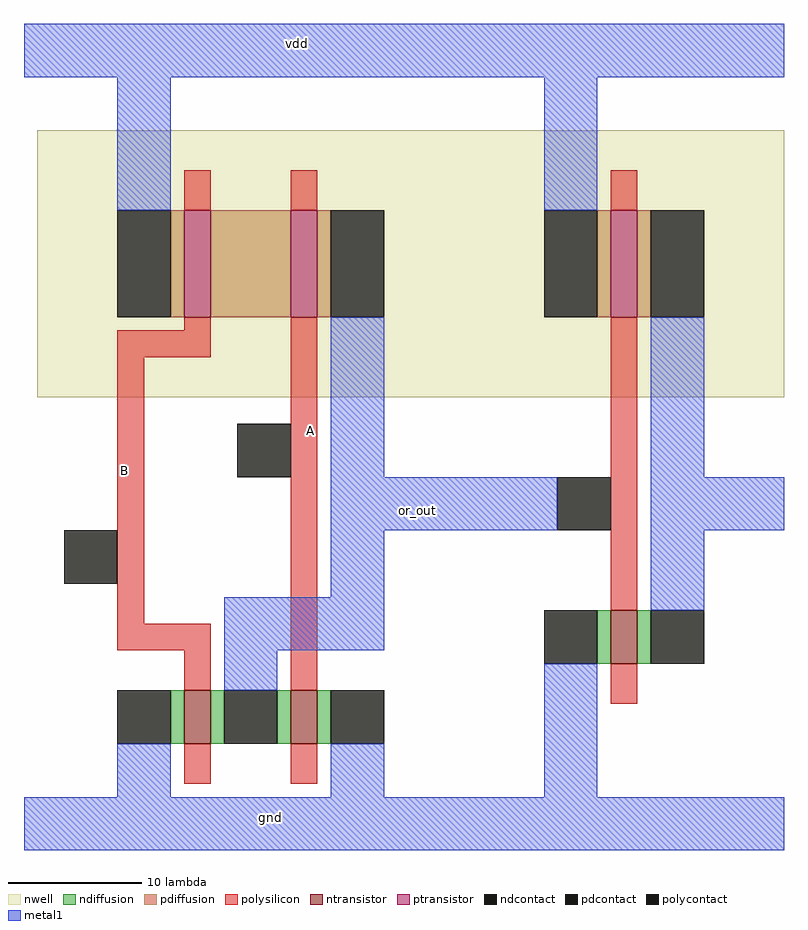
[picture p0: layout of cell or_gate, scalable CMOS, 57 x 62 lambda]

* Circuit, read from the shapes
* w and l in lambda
.subckt or_gate A B gnd or_out vdd
M1 or_out B gnd VSUBS nfet w=4 l=2
M2 gnd A or_out VSUBS nfet w=4 l=2
M3 inverter_0/Inv_out or_out gnd VSUBS nfet w=4 l=2
M4 n1 B vdd n2 pfet w=8 l=2
M5 or_out A n1 n2 pfet w=8 l=2
M6 inverter_0/Inv_out or_out vdd n2 pfet w=8 l=2
.ends

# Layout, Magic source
magic
tech scmos
<< nwell >>
rect 69 34 101 54
<< ntransistor >>
rect 80 8 82 12
rect 88 8 90 12
<< ptransistor >>
rect 80 40 82 48
rect 88 40 90 48
<< ndiffusion >>
rect 79 8 80 12
rect 82 8 83 12
rect 87 8 88 12
rect 90 8 91 12
<< pdiffusion >>
rect 79 40 80 48
rect 82 40 88 48
rect 90 40 91 48
<< ndcontact >>
rect 75 8 79 12
rect 83 8 87 12
rect 91 8 95 12
<< pdcontact >>
rect 75 40 79 48
rect 91 40 95 48
<< polysilicon >>
rect 80 48 82 51
rect 88 48 90 51
rect 80 39 82 40
rect 75 37 82 39
rect 75 17 77 37
rect 75 15 82 17
rect 80 12 82 15
rect 88 12 90 40
rect 80 5 82 8
rect 88 5 90 8
<< polycontact >>
rect 71 20 75 24
rect 84 28 88 32
<< metal1 >>
rect 68 58 101 62
rect 75 48 79 58
rect 91 28 95 40
rect 91 24 101 28
rect 91 19 95 24
rect 83 15 95 19
rect 83 12 87 15
rect 75 4 79 8
rect 91 4 95 8
rect 68 0 101 4
use inverter  inverter_0
transform 1 0 101 0 1 34
box 0 -34 24 28
<< labels >>
rlabel metal1 86 2 87 3 1 gnd
rlabel metal1 88 60 89 61 5 vdd
rlabel metal1 97 25 98 26 7 or_out
rlabel polysilicon 75 28 76 29 1 B
rlabel polysilicon 89 31 90 32 1 A
<< end >>

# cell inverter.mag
magic
tech scmos
<< nwell >>
rect 0 0 24 20
<< ntransistor >>
rect 11 -20 13 -16
<< ptransistor >>
rect 11 6 13 14
<< ndiffusion >>
rect 10 -20 11 -16
rect 13 -20 14 -16
<< pdiffusion >>
rect 10 6 11 14
rect 13 6 14 14
<< ndcontact >>
rect 6 -20 10 -16
rect 14 -20 18 -16
<< pdcontact >>
rect 6 6 10 14
rect 14 6 18 14
<< polysilicon >>
rect 11 14 13 17
rect 11 -16 13 6
rect 11 -23 13 -20
<< polycontact >>
rect 7 -10 11 -6
<< metal1 >>
rect 0 24 24 28
rect 6 14 10 24
rect 14 -6 18 6
rect 0 -10 7 -6
rect 14 -10 24 -6
rect 14 -16 18 -10
rect 6 -30 10 -20
rect 0 -34 24 -30
<< labels >>
rlabel metal1 3 -9 4 -8 3 INP
rlabel metal1 14 -31 15 -30 1 gnd
rlabel metal1 13 25 14 26 5 vdd
rlabel metal1 17 -9 18 -8 1 Inv_out
<< end >>
